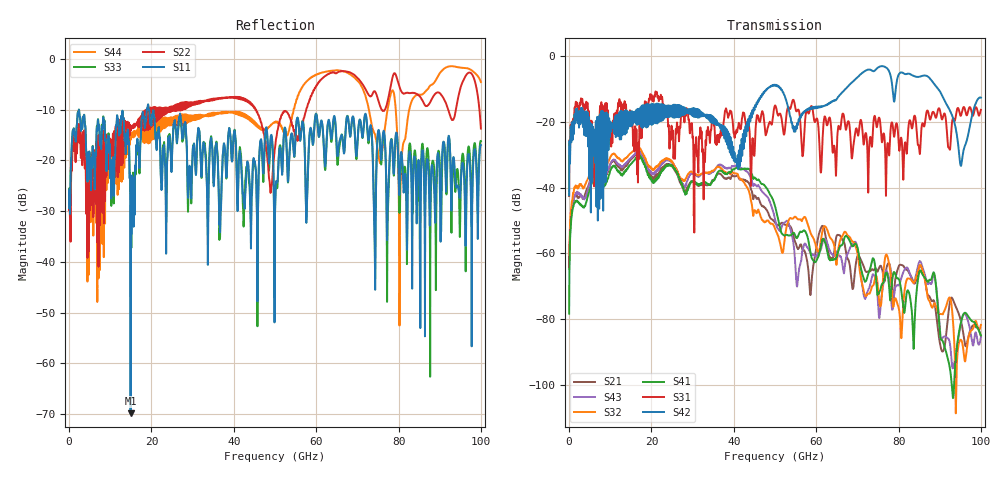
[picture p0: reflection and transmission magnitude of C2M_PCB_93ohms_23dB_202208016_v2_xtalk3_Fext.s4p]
! Info: Touchstone file created by Circ.  Input file=Intel_C2M_200G_9p0in_202208016_staggered.circ
# Hz S RI R 50
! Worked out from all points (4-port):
!   10000 points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, 10 MHz to 100 GHz, reference 50 ohm
!   strongest paths, dB at 10 MHz, 25.01 GHz, 50.01 GHz, 75.01 GHz, 100 GHz:
!     S42: -42.3, -16.9, -8.6, -3.4, -12.5
!     S31: -42.5, -24.3, -14.9, -19.8, -16.2
!     S41: -78.3, -33.4, -45.6, -72.4, -85.0
!     S32: -64.6, -31.9, -52.5, -70.5, -81.8
!     S43: -64.1, -32.2, -49.5, -75.1, -85.5
!     S21: -62.1, -33.5, -50.7, -65.2, -85.2
!   lowest |S11| = -69.8 dB at 14.93 GHz (marker M1), VSWR 1.00, Z = 50 + j0.0217 ohm
!   |S11| at or under -10 dB: start of sweep to 18.86 GHz; 19.33 GHz to end of sweep
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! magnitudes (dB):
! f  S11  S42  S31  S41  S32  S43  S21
! 10 MHz  -29.4  -42.3  -42.5  -78.3  -64.6  -64.1  -62.1
! 1.39 GHz  -15.2  -18.5  -15.6  -44.6  -40.0  -42.6  -42.7
! 14.93 GHz  -69.8  -20.4  -19.1  -32.9  -29.5  -31.0  -31.5
! 66.13 GHz  -15.0  -11.2  -19.5  -57.6  -55.1  -61.7  -55.4
! 80.35 GHz  -22.0  -5.0  -27.0  -69.0  -79.6  -69.0  -63.5
! 95.16 GHz  -23.6  -33.3  -18.0  -81.0  -86.3  -81.2  -80.6
! 100 GHz  -16.9  -12.5  -16.2  -85.0  -81.8  -85.5  -85.2
